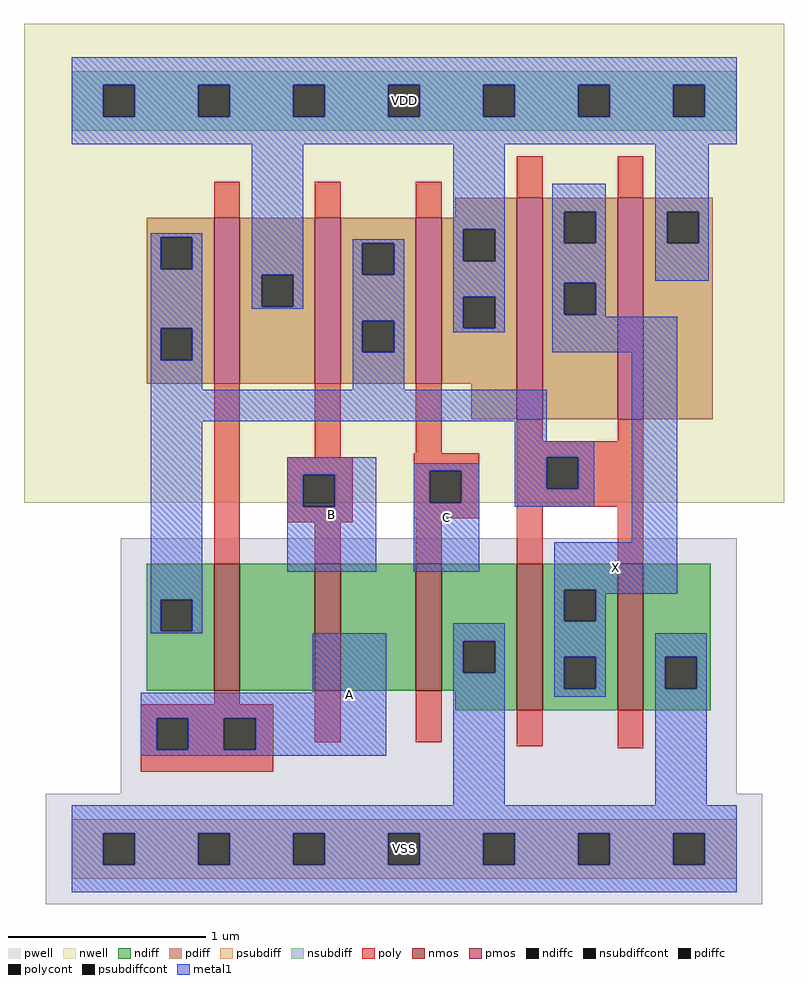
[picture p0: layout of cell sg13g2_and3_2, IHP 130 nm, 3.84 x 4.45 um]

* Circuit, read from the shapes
.subckt sg13g2_and3_2 X B VDD VSS C A
XM1 n1 A n2 VSS sg13_lv_nmos w=0.64u l=0.13u
XM2 n3 B n1 VSS sg13_lv_nmos w=0.64u l=0.13u
XM3 VSS C n3 VSS sg13_lv_nmos w=0.64u l=0.13u
XM4 X n2 VSS VSS sg13_lv_nmos w=0.74u l=0.13u m=2
XM5 VDD A n2 VDD sg13_lv_pmos w=0.84u l=0.13u
XM6 n2 B VDD VDD sg13_lv_pmos w=0.84u l=0.13u
XM7 VDD C n2 VDD sg13_lv_pmos w=0.84u l=0.13u
XM8 X n2 VDD VDD sg13_lv_pmos w=1.12u l=0.13u m=2
.ends

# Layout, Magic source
magic
tech ihp-sg13g2
<< nwell >>
rect -24 175 360 417
<< pwell >>
rect 25 28 336 157
rect -13 -28 349 28
<< nmos >>
rect 72 80 85 144
rect 123 80 136 144
rect 174 80 187 144
rect 225 70 238 144
rect 276 70 289 144
<< pmos >>
rect 72 235 85 319
rect 123 235 136 319
rect 174 235 187 319
rect 225 217 238 329
rect 276 217 289 329
<< ndiff >>
rect 38 126 72 144
rect 38 110 45 126
rect 61 110 72 126
rect 38 80 72 110
rect 85 80 123 144
rect 136 80 174 144
rect 187 105 225 144
rect 187 89 198 105
rect 214 89 225 105
rect 187 80 225 89
rect 194 70 225 80
rect 238 131 276 144
rect 238 115 249 131
rect 265 115 276 131
rect 238 97 276 115
rect 238 81 249 97
rect 265 81 276 97
rect 238 70 276 81
rect 289 97 323 144
rect 289 81 300 97
rect 316 81 323 97
rect 289 70 323 81
<< pdiff >>
rect 194 319 225 329
rect 38 309 72 319
rect 38 293 45 309
rect 61 293 72 309
rect 38 263 72 293
rect 38 247 45 263
rect 61 247 72 263
rect 38 235 72 247
rect 85 290 123 319
rect 85 274 96 290
rect 112 274 123 290
rect 85 235 123 274
rect 136 306 174 319
rect 136 290 147 306
rect 163 290 174 306
rect 136 267 174 290
rect 136 251 147 267
rect 163 251 174 267
rect 136 235 174 251
rect 187 313 225 319
rect 187 297 198 313
rect 214 297 225 313
rect 187 279 225 297
rect 187 263 198 279
rect 214 263 225 279
rect 187 235 225 263
rect 202 217 225 235
rect 238 322 276 329
rect 238 306 249 322
rect 265 306 276 322
rect 238 286 276 306
rect 238 270 249 286
rect 265 270 276 286
rect 238 217 276 270
rect 289 322 324 329
rect 289 306 301 322
rect 317 306 324 322
rect 289 217 324 306
<< ndiffc >>
rect 45 110 61 126
rect 198 89 214 105
rect 249 115 265 131
rect 249 81 265 97
rect 300 81 316 97
<< pdiffc >>
rect 45 293 61 309
rect 45 247 61 263
rect 96 274 112 290
rect 147 290 163 306
rect 147 251 163 267
rect 198 297 214 313
rect 198 263 214 279
rect 249 306 265 322
rect 249 270 265 286
rect 301 306 317 322
<< psubdiff >>
rect 0 8 336 15
rect 0 -8 16 8
rect 32 -8 64 8
rect 80 -8 112 8
rect 128 -8 160 8
rect 176 -8 208 8
rect 224 -8 256 8
rect 272 -8 304 8
rect 320 -8 336 8
rect 0 -15 336 -8
<< nsubdiff >>
rect 0 386 336 393
rect 0 370 16 386
rect 32 370 64 386
rect 80 370 112 386
rect 128 370 160 386
rect 176 370 208 386
rect 224 370 256 386
rect 272 370 304 386
rect 320 370 336 386
rect 0 363 336 370
<< psubdiffcont >>
rect 16 -8 32 8
rect 64 -8 80 8
rect 112 -8 128 8
rect 160 -8 176 8
rect 208 -8 224 8
rect 256 -8 272 8
rect 304 -8 320 8
<< nsubdiffcont >>
rect 16 370 32 386
rect 64 370 80 386
rect 112 370 128 386
rect 160 370 176 386
rect 208 370 224 386
rect 256 370 272 386
rect 304 370 320 386
<< poly >>
rect 72 319 85 337
rect 123 319 136 337
rect 174 319 187 337
rect 225 329 238 350
rect 276 329 289 350
rect 72 144 85 235
rect 123 198 136 235
rect 174 200 187 235
rect 225 206 238 217
rect 276 206 289 217
rect 109 189 142 198
rect 109 173 117 189
rect 133 173 142 189
rect 109 165 142 173
rect 173 191 206 200
rect 173 175 181 191
rect 197 175 206 191
rect 173 167 206 175
rect 225 198 289 206
rect 225 182 240 198
rect 256 182 289 198
rect 225 173 289 182
rect 123 144 136 165
rect 174 144 187 167
rect 225 144 238 173
rect 276 144 289 173
rect 72 73 85 80
rect 35 66 102 73
rect 35 50 43 66
rect 59 50 77 66
rect 93 50 102 66
rect 123 54 136 80
rect 174 54 187 80
rect 225 52 238 70
rect 276 51 289 70
rect 35 39 102 50
<< polycont >>
rect 117 173 133 189
rect 181 175 197 191
rect 240 182 256 198
rect 43 50 59 66
rect 77 50 93 66
<< metal1 >>
rect 0 386 336 400
rect 0 370 16 386
rect 32 370 64 386
rect 80 370 112 386
rect 128 370 160 386
rect 176 370 208 386
rect 224 370 256 386
rect 272 370 304 386
rect 320 370 336 386
rect 0 356 336 370
rect 40 309 66 311
rect 40 293 45 309
rect 61 293 66 309
rect 40 263 66 293
rect 91 290 117 356
rect 193 313 219 356
rect 91 274 96 290
rect 112 274 117 290
rect 91 273 117 274
rect 142 306 168 308
rect 142 290 147 306
rect 163 290 168 306
rect 40 247 45 263
rect 61 247 66 263
rect 40 232 66 247
rect 142 267 168 290
rect 142 251 147 267
rect 163 251 168 267
rect 193 297 198 313
rect 214 297 219 313
rect 193 279 219 297
rect 193 263 198 279
rect 214 263 219 279
rect 193 261 219 263
rect 243 322 270 336
rect 243 306 249 322
rect 265 306 270 322
rect 243 286 270 306
rect 295 322 322 356
rect 295 306 301 322
rect 317 306 322 322
rect 295 287 322 306
rect 243 270 249 286
rect 265 270 270 286
rect 243 269 270 270
rect 243 251 306 269
rect 142 232 168 251
rect 40 216 240 232
rect 40 126 66 216
rect 224 206 240 216
rect 224 198 264 206
rect 109 189 154 198
rect 109 173 117 189
rect 133 173 154 189
rect 109 140 154 173
rect 173 191 206 195
rect 173 175 181 191
rect 197 175 206 191
rect 173 140 206 175
rect 224 182 240 198
rect 256 182 264 198
rect 224 173 264 182
rect 283 155 306 251
rect 40 110 45 126
rect 61 110 66 126
rect 244 131 306 155
rect 244 115 249 131
rect 265 129 306 131
rect 265 115 270 129
rect 40 109 66 110
rect 122 79 159 109
rect 35 66 159 79
rect 35 50 43 66
rect 59 50 77 66
rect 93 50 159 66
rect 35 47 159 50
rect 193 105 219 114
rect 193 89 198 105
rect 214 89 219 105
rect 193 22 219 89
rect 244 97 270 115
rect 244 81 249 97
rect 265 81 270 97
rect 244 77 270 81
rect 295 97 321 109
rect 295 81 300 97
rect 316 81 321 97
rect 295 22 321 81
rect 0 8 336 22
rect 0 -8 16 8
rect 32 -8 64 8
rect 80 -8 112 8
rect 128 -8 160 8
rect 176 -8 208 8
rect 224 -8 256 8
rect 272 -8 304 8
rect 320 -8 336 8
rect 0 -22 336 -8
<< labels >>
flabel metal1 s 244 129 306 155 0 FreeSans 200 0 0 0 X
port 2 nsew
flabel metal1 s 109 140 154 198 0 FreeSans 200 0 0 0 B
port 3 nsew
flabel metal1 s 0 356 336 400 0 FreeSans 200 0 0 0 VDD
port 4 nsew
flabel metal1 s 0 -22 336 22 0 FreeSans 200 0 0 0 VSS
port 5 nsew
flabel metal1 s 173 140 206 195 0 FreeSans 200 0 0 0 C
port 6 nsew
flabel metal1 s 122 47 159 109 0 FreeSans 200 0 0 0 A
port 7 nsew
<< properties >>
string FIXED_BBOX 0 0 336 378
string GDS_END 226730
string GDS_FILE ../gds/controller.gds
string GDS_START 220982
<< end >>
